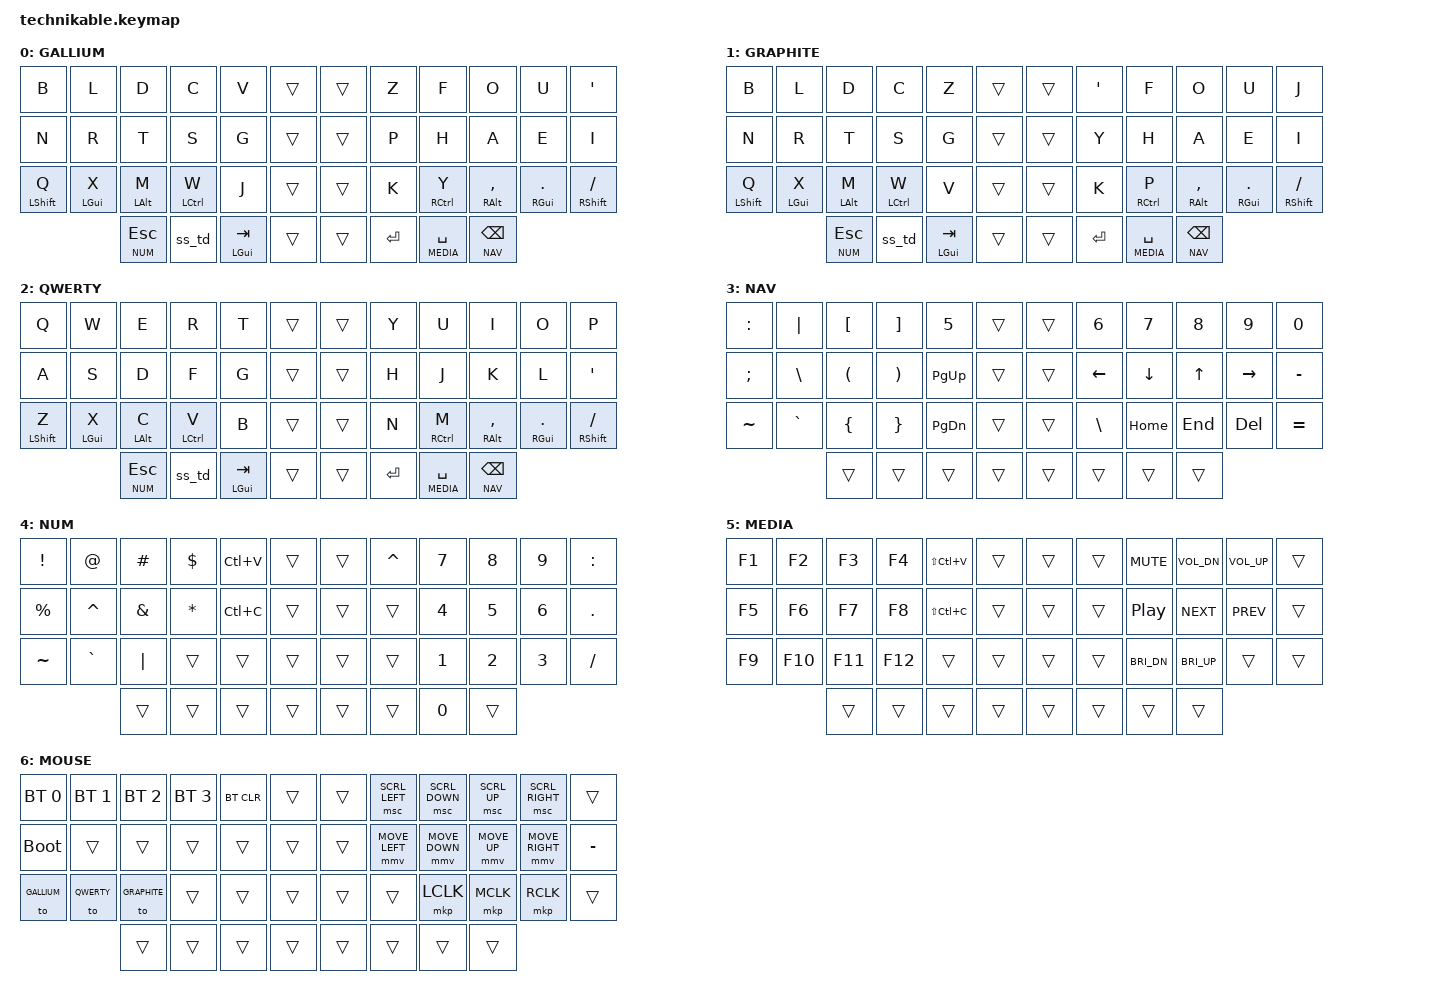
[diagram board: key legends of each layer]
#include <behaviors.dtsi>
#include <dt-bindings/zmk/keys.h>
#include <dt-bindings/zmk/bt.h>
#include <dt-bindings/zmk/outputs.h>
#include <dt-bindings/zmk/mouse.h> // This is defind in mouse.dtsi
// #include "mouse.dtsi" //this is for urobs branch

/* use helper macros to define left and right hand keys */
#include "./keypos_44keys_technikable.h"                // keyposition helpers
#define KEYS_L LT0 LT1 LT2 LT3 LT4 LT5 LM0 LM1 LM2 LM3 LM4 LM5 LB0 LB1 LB2 LB3 LB4 LB5  // left-hand keys
#define KEYS_R RT0 RT1 RT2 RT3 RT4 RT5 RM0 RM1 RM2 RM3 RM4 RM5 RB0 RB1 RB2 RB3 RB4 RB5  // right-hand keys
#define THUMBS LH3 LH2 LH1 LH0 RH0 RH1 RH2 RH3    // thumb keys

#define GALLIUM 0
#define GRAPHITE 1
#define QWERTY 2
#define NAV 3
#define NUM 4
#define MEDIA 5
#define MOUSE 6

/ {
    conditional_layers {
            compatible = "zmk,conditional-layers";
            tri_layer {
                if-layers = <3 4>;
                then-layer = <6>;
            };
        };

    macros {
        shift_macro: shift_macro {
            compatible = "zmk,behavior-macro";
            #binding-cells = <0>;
            bindings = <&skq LSHFT>;
            label = "SHIFT_MACRO";
        };

    };

    behaviors {

       /*  tap: sticky-shift | shift + tap/ double-tap: caps-word | hold: shift */
       /*  smart_shft: mod_morph { */
       /*      compatible = "zmk,behavior-mod-morph"; */
       /*      bindings = <&skq LSHFT>, <&caps_word>; */
       /*      mods = <(MOD_LSFT)>; */
       /*      #binding-cells = <0>; */
       /* }; */

        td_mt: tap_dance_mod_tap {
            compatible = "zmk,behavior-tap-dance";
            #binding-cells = <0>;
            tapping-term-ms = <200>;
            bindings = <&skq LSHIFT>, <&kp CAPSLOCK>;
        };

        ss_td: sticky_shift_tap_dance {
            compatible = "zmk,behavior-tap-dance";
            #binding-cells = <0>;
            tapping-term-ms = <200>;
            bindings = <&skq LSHFT>, <&kp CAPSLOCK>;
        };

        /* ct: capslock_toggle { */
        /*     compatible = "zmk,behavior-hold-tap"; */
        /*     #binding-cells = <2> */
        /*     tapping-term-ms = <200>; */
        /*     flavor = "tap-preferred" */
        /*     bindings = <&kp>, <&kp>; */
        /* }; */

        skq: sticky_key_quick_release {
            compatible = "zmk,behavior-sticky-key";
            label = "STICKY_KEY_QUICK_RELEASE";
            #binding-cells = <1>;
            bindings = <&kp>;
            release-after-ms = <500>;
            quick-release;
        };

        bhm: balanced_homerow_mods {
            compatible = "zmk,behavior-hold-tap";
            label = "BALANCED_HOMEROW_MODS";
            #binding-cells = <2>;
            tapping-term-ms = <200>;
            quick-tap-ms = <150>;
            //global-quick-tap;
            flavor = "balanced";
            bindings = <&kp>, <&kp>;
            retro-tap;
        };

        hm: homerow_mods {
            compatible = "zmk,behavior-hold-tap";
            label = "HOMEROW_MODS";
            #binding-cells = <2>;
            bindings = <&kp>, <&kp>;

            tapping-term-ms = <200>;
            quick-tap-ms = <150>;
            //global-quick-tap;
            flavor = "tap-preferred";
            retro-tap;
        };

        hphm: hold_preferred_homerow_mods {
            compatible = "zmk,behavior-hold-tap";
            label = "HOLD_PREFERRED_HOMEROW_HODS";
            #binding-cells = <2>;
            bindings = <&kp>, <&kp>;

            tapping-term-ms = <200>;
            quick-tap-ms = <150>;
            //global-quick-tap;
            flavor = "hold-preferred";
            hold-trigger-key-positions = <35>;
            hold-trigger-on-release;
        };

        mlt: my_layer_tap {
            compatible = "zmk,behavior-hold-tap";
            label = "MY_LAYER_TAP";
            #binding-cells = <2>;
            tapping-term-ms = <200>;
            quick-tap-ms = <300>;
            // //global-quick-tap;
            flavor = "hold-preferred";
            bindings = <&mo>, <&kp>;
        };

        hpt: hold_preferred_tap {
            compatible = "zmk,behavior-hold-tap";
            label = "HOLD_PREFERRED_TAP";
            #binding-cells = <2>;
            bindings = <&kp>, <&kp>;

            tapping-term-ms = <200>;
            quick-tap-ms = <150>;
            //global-quick-tap;
            flavor = "hold-preferred";
        };

        tplt: tap_preferred_layer_tap {
            compatible = "zmk,behavior-hold-tap";
            label = "TAP_PREFERRED_LAYER_TAP";
            #binding-cells = <2>;
            bindings = <&mo>, <&kp>;

            tapping-term-ms = <200>;
            quick-tap-ms = <150>;
            //global-quick-tap;
            flavor = "tap-preferred";
        };

        hml: home_row_left {
            compatible = "zmk,behavior-hold-tap";
            label = "HOME_ROW_LEFT";
            #binding-cells = <2>;
            bindings = <&kp>, <&kp>;

            flavor = "balanced";
            tapping-term-ms = <180>;
            quick-tap-ms = <175>;                // repeat on tap-into-hold
            require-prior-idle-ms = <100>;         // requires PR #1387
            bindings = <&kp>, <&kp>;
            hold-trigger-key-positions = <KEYS_R THUMBS>; // play around wit this to maybe improve the feeling of ctrl+delete after fast typing
            hold-trigger-on-release;             // delay positional check until key-release
        };

        hmr: home_row_right {
            compatible = "zmk,behavior-hold-tap";
            label = "HOME_ROW_RIGHT";
            #binding-cells = <2>;
            bindings = <&kp>, <&kp>;

            flavor = "balanced";
            tapping-term-ms = <180>;
            quick-tap-ms = <175>;                // repeat on tap-into-hold
            require-prior-idle-ms = <150>;         // requires PR #1387
            bindings = <&kp>, <&kp>;
            hold-trigger-key-positions = <KEYS_L THUMBS>; // play around wit this to maybe improve the feeling of ctrl+delete after fast typing
            hold-trigger-on-release;             // delay positional check until key-release
        };


    };

    keymap {
        compatible = "zmk,keymap";

        /* Gallium with my punctuation and J-Z and F-Y swap*/
        gallium_layer {
            label = "GALLIUM";

            bindings = <
                &kp B           &kp L          &kp D            &kp C            &kp V           &trans   &trans              &kp Z              &kp F          &kp O            &kp U              &kp APOS
                &kp N           &kp R          &kp T            &kp S            &kp G           &trans   &trans              &kp P              &kp H          &kp A            &kp E              &kp I
                &hml LSHIFT Q   &hml LGUI X    &hml LALT M      &hml LCTL W      &kp J           &trans   &trans              &kp K              &hmr RCTL Y    &hmr RALT COMMA   &hmr RGUI DOT    &hmr RSHIFT SLASH
                                               &mlt NUM ESC     &ss_td           &hpt LGUI TAB   &trans   &trans   &kp ENTER    &tplt MEDIA SPACE  &mlt NAV BSPC
                >;
        };

        graphite_layer {
            label = "GRAPHITE";

            bindings = <
                &kp B           &kp L          &kp D            &kp C            &kp Z           &trans   &trans                &kp APOS              &kp F          &kp O            &kp U              &kp J
                &kp N           &kp R          &kp T            &kp S            &kp G           &trans   &trans                &kp Y              &kp H          &kp A            &kp E              &kp I
                &hml LSHIFT Q   &hml LGUI X    &hml LALT M      &hml LCTL W      &kp V           &trans   &trans                &kp K              &hmr RCTL P    &hmr RALT COMMA   &hmr RGUI DOT    &hmr RSHIFT SLASH
                                               &mlt NUM ESC     &ss_td           &hpt LGUI TAB   &trans   &trans   &kp ENTER    &tplt MEDIA SPACE  &mlt NAV BSPC
                >;
        };

        qwerty_layer {
            label = "QWERTY";

            bindings = <
                &kp Q         &kp W         &kp E        &kp R           &kp T                    &trans   &trans               &kp Y              &kp U        &kp I           &kp O          &kp P
                &kp A         &kp S         &kp D        &kp F           &kp G                    &trans   &trans               &kp H              &kp J        &kp K           &kp L          &kp APOS
                &hml LSHIFT Z &hml LGUI X   &hml LALT C  &hml  LCTL V    &kp B                    &trans   &trans               &kp N              &hmr RCTL M  &hmr RALT COMMA &hmr RGUI DOT  &hmr RSHIFT SLASH
                                                        &mlt NUM ESC     &ss_td  &hpt LGUI TAB    &trans   &trans   &kp ENTER   &tplt MEDIA SPACE  &mlt NAV BSPC
            >;
        };

        nav_layer {
           label = "NAV";

            bindings = <
                &kp COLON &kp PIPE   &kp LBKT &kp RBKT &kp N5       &trans &trans     &kp N6    &kp N7   &kp N8   &kp N9    &kp N0
                &kp SEMI  &kp BSLH   &kp LPAR &kp RPAR &kp PG_UP    &trans &trans     &kp LEFT  &kp DOWN &kp UP   &kp RIGHT &kp MINUS
                &kp TILDE &kp GRAVE  &kp LBRC &kp RBRC &kp PG_DN    &trans &trans     &kp BSLH  &kp HOME &kp END  &kp DEL  &kp EQUAL
                                     &trans   &trans   &trans       &trans &trans     &trans    &trans   &trans
            >;
        };

        num_layer {
            label = "NUM";

            bindings = <
                &kp EXCL &kp AT  &kp HASH  &kp DLLR  &kp LC(V)      &trans &trans                  &kp CARET &kp N7  &kp N8    &kp N9 &kp COLON
                &kp PRCNT &kp CARET &kp AMPS  &kp STAR &kp LC(C)    &trans &trans                     &trans &kp N4  &kp N5    &kp N6 &kp DOT
                &kp TILDE &kp GRAVE  &kp PIPE &trans &trans         &trans &trans                 &trans &kp N1  &kp N2    &kp N3 &kp SLASH
                                            &trans &trans &trans    &trans &trans      &trans &kp N0 &trans
            >;
        };

        media_layer {
            label = "MEDIA";

            bindings = <
                &kp F1   &kp F2  &kp F3    &kp F4 &kp LS(LC(V))   &trans   &trans            &trans &kp C_MUTE &kp C_VOL_DN  &kp C_VOL_UP    &trans
                &kp F5   &kp F6  &kp F7    &kp F8 &kp LS(LC(C))   &trans   &trans             &trans &kp C_PP &kp C_NEXT  &kp C_PREV   &trans
                &kp F9   &kp F10 &kp F11   &kp F12 &trans         &trans   &trans          &trans &kp C_BRI_DN &kp C_BRI_UP  &trans  &trans
                                            &trans &trans &trans  &trans   &trans  &trans &trans &trans
            >;
        };

        mouse_layer {
            label = "MOUSE";

            bindings = <

                &bt BT_SEL 0 &bt BT_SEL 1    &bt BT_SEL 2    &bt BT_SEL 3 &bt BT_CLR      &trans   &trans               &msc SCRL_LEFT   &msc SCRL_DOWN  &msc SCRL_UP   &msc SCRL_RIGHT   &trans
                &bootloader   &trans          &trans           &trans       &trans          &trans   &trans               &mmv MOVE_LEFT   &mmv MOVE_DOWN  &mmv MOVE_UP   &mmv MOVE_RIGHT   &kp MINUS
                &to GALLIUM  &to QWERTY      &to GRAPHITE     &trans       &trans         &trans   &trans                &trans           &mkp LCLK       &mkp MCLK      &mkp RCLK         &trans
                                                         &trans       &trans      &trans  &trans   &trans  &trans   &trans       &trans
           >;
        };

    };
};
